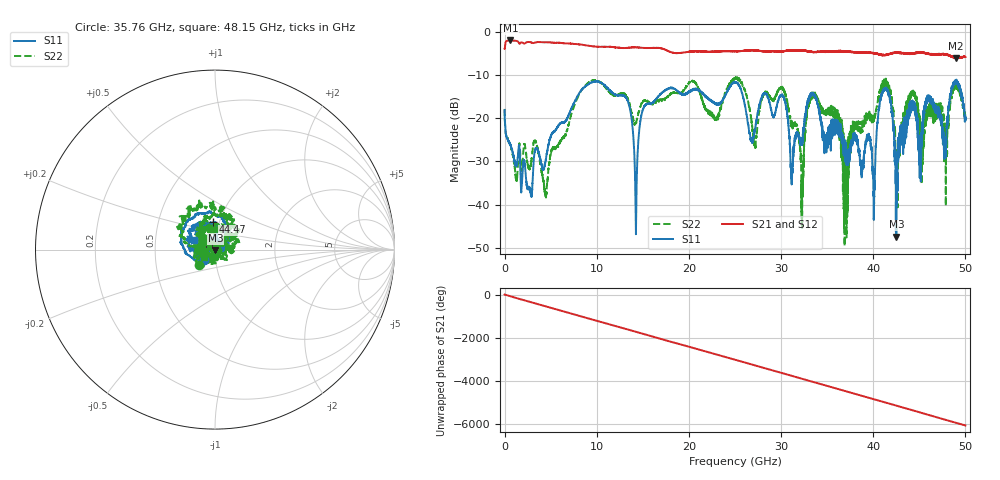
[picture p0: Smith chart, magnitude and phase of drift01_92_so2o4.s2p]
!Created with skrf (http://scikit-rf.org).
# Hz S RI R 50.0
!freq ReS11 ImS11 ReS21 ImS21 ReS12 ImS12 ReS22 ImS22
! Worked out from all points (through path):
!   10001 points, 300 kHz to 50 GHz, reference 50 ohm
!   highest |S21| = -2.00 dB at 625.3 MHz (marker M1); lowest = -6.1 dB at 48.98 GHz (marker M2)
!   group delay of S21, straight-line fit = 336 ps
!   lowest |S11| = -47.4 dB at 42.51 GHz (marker M3), VSWR 1.01, Z = 50.3 - j0.346 ohm
!   |S11| at or under -10 dB: start of sweep to end of sweep
!   |S22| runs from -49.6 to -10.5 dB; largest |S21 - S12| = 0.025
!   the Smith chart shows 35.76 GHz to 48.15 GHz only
!   S11 on the Smith chart (normalised r, x): 35.76 GHz: 0.88, -0.10; 44.47 GHz: 0.93, +0.29; 48.15 GHz: 0.79, +0.08
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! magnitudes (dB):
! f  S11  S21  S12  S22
! 300 kHz  -18.2  -4.0  -4.0  -17.8
! 625.3 MHz  -26.1  -2.0  -2.0  -26.1
! 4.445 GHz  -29.9  -2.4  -2.4  -37.5
! 8.335 GHz  -13.5  -3.0  -3.0  -13.5
! 13.17 GHz  -15.2  -3.7  -3.7  -14.7
! 14.26 GHz  -46.3  -3.6  -3.6  -21.1
! 16.67 GHz  -14.9  -3.7  -3.7  -15.8
! 25 GHz  -11.6  -4.5  -4.5  -11.0
! 27.14 GHz  -22.6  -4.3  -4.3  -25.8
! 30.2 GHz  -15.0  -4.5  -4.5  -13.3
! 31.15 GHz  -35.3  -4.3  -4.3  -20.9
! 32.25 GHz  -24.9  -4.3  -4.2  -36.2
! 33.34 GHz  -14.2  -4.6  -4.6  -14.5
! 35.76 GHz  -21.8  -4.6  -4.5  -18.1
! 37.04 GHz  -27.0  -4.5  -4.5  -29.6
! 40.07 GHz  -43.1  -5.0  -5.0  -20.2
! 41.67 GHz  -14.3  -5.1  -5.1  -12.5
! 42.51 GHz  -47.4  -4.9  -4.9  -27.8
! 44.47 GHz  -16.3  -5.0  -5.0  -14.2
! 48.15 GHz  -18.0  -5.3  -5.3  -22.4
! 48.98 GHz  -11.3  -6.1  -6.0  -12.8
! 50 GHz  -19.8  -5.8  -5.8  -19.9
